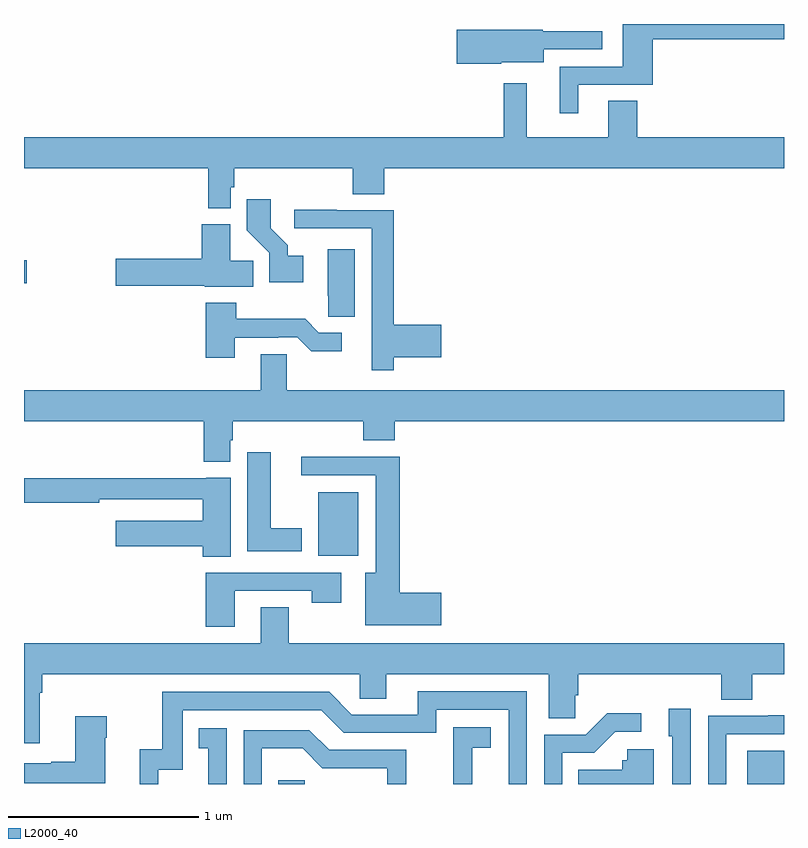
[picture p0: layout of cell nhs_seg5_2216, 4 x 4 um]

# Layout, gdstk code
import gdstk
lib = gdstk.Library(unit=1e-6, precision=1e-09)
def R(c, l, rs):  # rectangles x0, y0, x1, y1
    for r in rs: c.add(gdstk.rectangle(r[:2], r[2:], *l))
def P(c, l, *ps):  # polygons
    for p in ps: c.add(gdstk.Polygon(p, *l))
L2000_40 = (2000, 40)

nhs_seg5_2216 = lib.new_cell('nhs_seg5_2216')
R(nhs_seg5_2216, L2000_40, [(240.337,906.799,240.477,906.819), (242.807,906.799,243,906.973), (240.548,908,240.76,908.335), (239,909.434,239.014,909.556)])
P(nhs_seg5_2216, L2000_40, [(241.918,910.479),(242.309,910.479),(242.309,910.72),(243,910.72),(243,910.799),(242.15,910.799),(242.15,910.575),(241.82,910.575),(241.82,910.329),(241.918,910.329)],
  [(241.512,910.598),(241.735,910.598),(241.735,910.665),(242.044,910.665),(242.044,910.761),(241.731,910.761),(241.731,910.769),(241.278,910.769),(241.278,910.591),(241.512,910.591)],
  [(240.087,909.939),(240.107,909.939),(240.107,910.04),(240.731,910.04),(240.731,909.904),(240.896,909.904),(240.896,910.04),(243,910.04),(243,910.204),(242.228,910.204),(242.228,910.394),(242.075,910.394),(242.075,910.204),(241.645,910.204),(241.645,910.486),(241.524,910.486),(241.524,910.204),(239,910.204),(239,910.04),(239.971,910.04),(239.971,909.83),(240.087,909.83)],
  [(240.469,909.58),(240.388,909.58),(240.388,909.635),(240.298,909.725),(240.298,909.877),(240.172,909.877),(240.172,909.714),(240.291,909.595),(240.291,909.44),(240.469,909.44)],
  [(240.947,909.044),(241.195,909.044),(241.195,909.215),(240.947,909.215),(240.947,909.819),(240.647,909.819),(240.647,909.822),(240.423,909.822),(240.423,909.723),(240.831,909.723),(240.831,909.198),(240.83,909.198),(240.83,908.976),(240.947,908.976)],
  [(240.206,909.554),(240.085,909.554),(240.085,909.745),(239.936,909.745),(239.936,909.564),(239.484,909.564),(239.484,909.422),(239.952,909.422),(239.952,909.416),(240.206,909.416)],
  [(240.742,909.613),(240.599,909.613),(240.599,909.37),(240.6,909.37),(240.6,909.259),(240.742,909.259)],
  [(240.109,909.147),(240.338,909.147),(240.338,909.15),(240.438,909.15),(240.511,909.077),(240.673,909.077),(240.673,909.174),(240.552,909.174),(240.479,909.247),(240.117,909.247),(240.117,909.331),(239.957,909.331),(239.957,909.042),(240.109,909.042)],
  [(240.085,908.607),(240.098,908.607),(240.098,908.708),(240.785,908.708),(240.785,908.609),(240.95,908.609),(240.95,908.708),(243,908.708),(243,908.872),(240.384,908.872),(240.384,909.062),(240.245,909.062),(240.245,908.872),(239,908.872),(239,908.708),(239.945,908.708),(239.945,908.495),(240.085,908.495)],
  [(240.463,908.146),(240.298,908.146),(240.298,908.545),(240.176,908.545),(240.176,908.024),(240.463,908.024)],
  [(241.195,907.805),(240.977,907.805),(240.977,908.522),(240.459,908.522),(240.459,908.424),(240.851,908.424),(240.851,907.912),(240.797,907.912),(240.797,907.634),(241.195,907.634)],
  [(240.088,908.41),(239.958,908.41),(239.958,908.407),(239,908.407),(239,908.278),(239.396,908.278),(239.396,908.298),(239.942,908.298),(239.942,908.185),(239.484,908.185),(239.484,908.051),(239.942,908.051),(239.942,907.996),(240.088,907.996)],
  [(240.109,907.815),(240.514,907.815),(240.514,907.752),(240.67,907.752),(240.67,907.911),(239.957,907.911),(239.957,907.626),(240.109,907.626)],
  [(239.083,907.28),(239.096,907.28),(239.096,907.376),(240.768,907.376),(240.768,907.249),(240.907,907.249),(240.907,907.376),(241.763,907.376),(241.763,907.144),(241.902,907.144),(241.902,907.267),(241.916,907.267),(241.916,907.376),(242.669,907.376),(242.669,907.243),(242.834,907.243),(242.834,907.376),(243,907.376),(243,907.54),(240.393,907.54),(240.393,907.73),(240.245,907.73),(240.245,907.54),(239,907.54),(239,907.014),(239.083,907.014)],
  [(239.706,906.873),(239.835,906.873),(239.835,907.188),(240.564,907.188),(240.684,907.068),(241.17,907.068),(241.17,907.191),(241.551,907.191),(241.551,906.799),(241.647,906.799),(241.647,907.287),(241.073,907.287),(241.073,907.164),(240.726,907.164),(240.606,907.284),(239.727,907.284),(239.727,906.982),(239.609,906.982),(239.609,906.799),(239.706,906.799)],
  [(242.508,907.195),(242.393,907.195),(242.393,907.05),(242.412,907.05),(242.412,906.799),(242.508,906.799)],
  [(241.833,906.963),(242.002,906.963),(242.113,907.074),(242.248,907.074),(242.248,907.172),(242.069,907.172),(241.956,907.059),(241.737,907.059),(241.737,906.799),(241.833,906.799)],
  [(242.697,907.062),(243,907.062),(243,907.16),(242.917,907.16),(242.917,907.158),(242.601,907.158),(242.601,906.799),(242.697,906.799)],
  [(239.428,907.043),(239.436,907.043),(239.436,907.156),(239.27,907.156),(239.27,906.917),(239.144,906.917),(239.144,906.907),(239.001,906.907),(239.001,906.803),(239.428,906.803)],
  [(241.358,906.989),(241.456,906.989),(241.456,907.099),(241.258,907.099),(241.258,906.893),(241.259,906.893),(241.259,906.799),(241.358,906.799)],
  [(240.066,907.093),(239.92,907.093),(239.92,906.987),(239.969,906.987),(239.969,906.799),(240.066,906.799)],
  [(240.252,906.986),(240.466,906.986),(240.57,906.882),(240.912,906.882),(240.912,906.799),(241.011,906.799),(241.011,906.978),(240.607,906.978),(240.502,907.083),(240.156,907.083),(240.156,906.799),(240.252,906.799)],
  [(242.314,906.982),(242.175,906.982),(242.175,906.924),(242.149,906.924),(242.149,906.874),(241.918,906.874),(241.918,906.799),(242.314,906.799)])

lib.write_gds('nhs_seg5_2216.gds')
